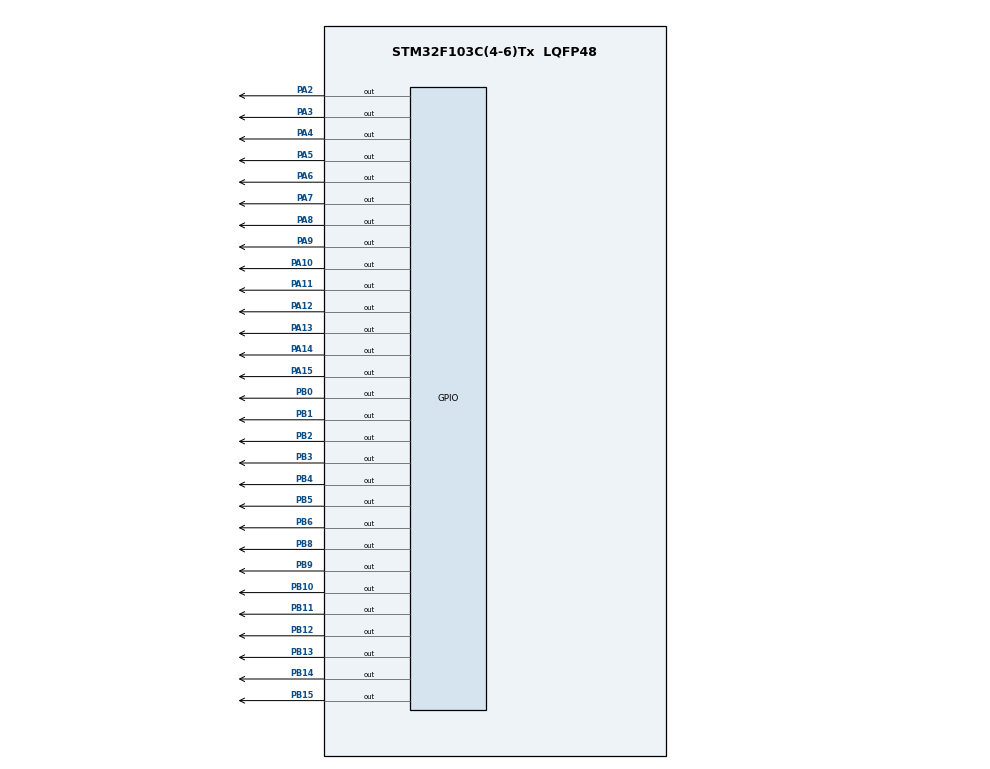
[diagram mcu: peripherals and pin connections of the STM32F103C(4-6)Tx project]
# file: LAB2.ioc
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Mcu.Family=STM32F1
Mcu.Name=STM32F103C(4-6)Tx
Mcu.Package=LQFP48
NVIC.PriorityGroup=NVIC_PRIORITYGROUP_4
NVIC.TIM2_IRQn=true\:0\:0\:false\:false\:true\:true\:true\:true
PA10.Signal=GPIO_Output
PA11.Signal=GPIO_Output
PA12.Signal=GPIO_Output
PA13.Signal=GPIO_Output
PA14.Signal=GPIO_Output
PA15.Signal=GPIO_Output
PA2.Signal=GPIO_Output
PA3.Signal=GPIO_Output
PA4.Signal=GPIO_Output
PA5.Signal=GPIO_Output
PA6.Signal=GPIO_Output
PA7.Signal=GPIO_Output
PA8.Signal=GPIO_Output
PA9.Signal=GPIO_Output
PB0.Signal=GPIO_Output
PB1.Signal=GPIO_Output
PB10.Signal=GPIO_Output
PB11.Signal=GPIO_Output
PB12.Signal=GPIO_Output
PB13.Signal=GPIO_Output
PB14.Signal=GPIO_Output
PB15.Signal=GPIO_Output
PB2.Signal=GPIO_Output
PB3.Signal=GPIO_Output
PB4.Signal=GPIO_Output
PB5.Signal=GPIO_Output
PB6.Signal=GPIO_Output
PB8.Signal=GPIO_Output
PB9.Signal=GPIO_Output
ProjectManager.HeapSize=0x200
ProjectManager.StackSize=0x400
ProjectManager.TargetToolchain=STM32CubeIDE
RCC.APB1Freq_Value=8000000
RCC.APB2Freq_Value=8000000
TIM2.Period=9
TIM2.Prescaler=799
VP_TIM2_VS_ClockSourceINT.Mode=Internal
board=custom

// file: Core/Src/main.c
/* USER CODE BEGIN Header */
/**
  ******************************************************************************
  * @file           : main.c
  * @brief          : Main program body
  ******************************************************************************
  * @attention
  *
  * Copyright (c) 2026 STMicroelectronics.
  * All rights reserved.
  *
  * This software is licensed under terms that can be found in the LICENSE file
  * in the root directory of this software component.
  * If no LICENSE file comes with this software, it is provided AS-IS.
  *
  ******************************************************************************
  */
/* USER CODE END Header */
#include "main.h"

TIM_HandleTypeDef htim2;

void SystemClock_Config(void);
static void MX_GPIO_Init(void);
static void MX_TIM2_Init(void);

/* USER CODE BEGIN 0 */
void display7SEG(int num)
{
    if (num == 0)
    {
        HAL_GPIO_WritePin(GPIOB, GPIO_PIN_0, GPIO_PIN_RESET);
        HAL_GPIO_WritePin(GPIOB, GPIO_PIN_1, GPIO_PIN_RESET);
        HAL_GPIO_WritePin(GPIOB, GPIO_PIN_2, GPIO_PIN_RESET);
        HAL_GPIO_WritePin(GPIOB, GPIO_PIN_3, GPIO_PIN_RESET);
        HAL_GPIO_WritePin(GPIOB, GPIO_PIN_4, GPIO_PIN_RESET);
        HAL_GPIO_WritePin(GPIOB, GPIO_PIN_5, GPIO_PIN_RESET);
        HAL_GPIO_WritePin(GPIOB, GPIO_PIN_6, GPIO_PIN_SET);
    }
    else if (num == 1)
    {
        HAL_GPIO_WritePin(GPIOB, GPIO_PIN_0, GPIO_PIN_SET);
        HAL_GPIO_WritePin(GPIOB, GPIO_PIN_1, GPIO_PIN_RESET);
        HAL_GPIO_WritePin(GPIOB, GPIO_PIN_2, GPIO_PIN_RESET);
        HAL_GPIO_WritePin(GPIOB, GPIO_PIN_3, GPIO_PIN_SET);
        HAL_GPIO_WritePin(GPIOB, GPIO_PIN_4, GPIO_PIN_SET);
        HAL_GPIO_WritePin(GPIOB, GPIO_PIN_5, GPIO_PIN_SET);
        HAL_GPIO_WritePin(GPIOB, GPIO_PIN_6, GPIO_PIN_SET);
    }
    else if (num == 2)
    {
        HAL_GPIO_WritePin(GPIOB, GPIO_PIN_0, GPIO_PIN_RESET);
        HAL_GPIO_WritePin(GPIOB, GPIO_PIN_1, GPIO_PIN_RESET);
        HAL_GPIO_WritePin(GPIOB, GPIO_PIN_2, GPIO_PIN_SET);
        HAL_GPIO_WritePin(GPIOB, GPIO_PIN_3, GPIO_PIN_RESET);
        HAL_GPIO_WritePin(GPIOB, GPIO_PIN_4, GPIO_PIN_RESET);
        HAL_GPIO_WritePin(GPIOB, GPIO_PIN_5, GPIO_PIN_SET);
        HAL_GPIO_WritePin(GPIOB, GPIO_PIN_6, GPIO_PIN_RESET);
    }
    else if (num == 3)
    {
        HAL_GPIO_WritePin(GPIOB, GPIO_PIN_0, GPIO_PIN_RESET);
        HAL_GPIO_WritePin(GPIOB, GPIO_PIN_1, GPIO_PIN_RESET);
        HAL_GPIO_WritePin(GPIOB, GPIO_PIN_2, GPIO_PIN_RESET);
        HAL_GPIO_WritePin(GPIOB, GPIO_PIN_3, GPIO_PIN_RESET);
        HAL_GPIO_WritePin(GPIOB, GPIO_PIN_4, GPIO_PIN_SET);
        HAL_GPIO_WritePin(GPIOB, GPIO_PIN_5, GPIO_PIN_SET);
        HAL_GPIO_WritePin(GPIOB, GPIO_PIN_6, GPIO_PIN_RESET);
    }
    else if (num == 4)
    {
        HAL_GPIO_WritePin(GPIOB, GPIO_PIN_0, GPIO_PIN_SET);
        HAL_GPIO_WritePin(GPIOB, GPIO_PIN_1, GPIO_PIN_RESET);
        HAL_GPIO_WritePin(GPIOB, GPIO_PIN_2, GPIO_PIN_RESET);
        HAL_GPIO_WritePin(GPIOB, GPIO_PIN_3, GPIO_PIN_SET);
        HAL_GPIO_WritePin(GPIOB, GPIO_PIN_4, GPIO_PIN_SET);
        HAL_GPIO_WritePin(GPIOB, GPIO_PIN_5, GPIO_PIN_RESET);
        HAL_GPIO_WritePin(GPIOB, GPIO_PIN_6, GPIO_PIN_RESET);
    }
    else if (num == 5)
    {
        HAL_GPIO_WritePin(GPIOB, GPIO_PIN_0, GPIO_PIN_RESET);
        HAL_GPIO_WritePin(GPIOB, GPIO_PIN_1, GPIO_PIN_SET);
        HAL_GPIO_WritePin(GPIOB, GPIO_PIN_2, GPIO_PIN_RESET);
        HAL_GPIO_WritePin(GPIOB, GPIO_PIN_3, GPIO_PIN_RESET);
        HAL_GPIO_WritePin(GPIOB, GPIO_PIN_4, GPIO_PIN_SET);
        HAL_GPIO_WritePin(GPIOB, GPIO_PIN_5, GPIO_PIN_RESET);
        HAL_GPIO_WritePin(GPIOB, GPIO_PIN_6, GPIO_PIN_RESET);
    }
    else if (num == 6)
    {
        HAL_GPIO_WritePin(GPIOB, GPIO_PIN_0, GPIO_PIN_RESET);
        HAL_GPIO_WritePin(GPIOB, GPIO_PIN_1, GPIO_PIN_SET);
        HAL_GPIO_WritePin(GPIOB, GPIO_PIN_2, GPIO_PIN_RESET);
        HAL_GPIO_WritePin(GPIOB, GPIO_PIN_3, GPIO_PIN_RESET);
        HAL_GPIO_WritePin(GPIOB, GPIO_PIN_4, GPIO_PIN_RESET);
        HAL_GPIO_WritePin(GPIOB, GPIO_PIN_5, GPIO_PIN_RESET);
        HAL_GPIO_WritePin(GPIOB, GPIO_PIN_6, GPIO_PIN_RESET);
    }
    else if (num == 7)
    {
        HAL_GPIO_WritePin(GPIOB, GPIO_PIN_0, GPIO_PIN_RESET);
        HAL_GPIO_WritePin(GPIOB, GPIO_PIN_1, GPIO_PIN_RESET);
        HAL_GPIO_WritePin(GPIOB, GPIO_PIN_2, GPIO_PIN_RESET);
        HAL_GPIO_WritePin(GPIOB, GPIO_PIN_3, GPIO_PIN_SET);
        HAL_GPIO_WritePin(GPIOB, GPIO_PIN_4, GPIO_PIN_SET);
        HAL_GPIO_WritePin(GPIOB, GPIO_PIN_5, GPIO_PIN_SET);
        HAL_GPIO_WritePin(GPIOB, GPIO_PIN_6, GPIO_PIN_SET);
    }
    else if (num == 8)
    {
        HAL_GPIO_WritePin(GPIOB, GPIO_PIN_0, GPIO_PIN_RESET);
        HAL_GPIO_WritePin(GPIOB, GPIO_PIN_1, GPIO_PIN_RESET);
        HAL_GPIO_WritePin(GPIOB, GPIO_PIN_2, GPIO_PIN_RESET);
        HAL_GPIO_WritePin(GPIOB, GPIO_PIN_3, GPIO_PIN_RESET);
        HAL_GPIO_WritePin(GPIOB, GPIO_PIN_4, GPIO_PIN_RESET);
        HAL_GPIO_WritePin(GPIOB, GPIO_PIN_5, GPIO_PIN_RESET);
        HAL_GPIO_WritePin(GPIOB, GPIO_PIN_6, GPIO_PIN_RESET);
    }
    else if (num == 9)
    {
        HAL_GPIO_WritePin(GPIOB, GPIO_PIN_0, GPIO_PIN_RESET);
        HAL_GPIO_WritePin(GPIOB, GPIO_PIN_1, GPIO_PIN_RESET);
        HAL_GPIO_WritePin(GPIOB, GPIO_PIN_2, GPIO_PIN_RESET);
        HAL_GPIO_WritePin(GPIOB, GPIO_PIN_3, GPIO_PIN_RESET);
        HAL_GPIO_WritePin(GPIOB, GPIO_PIN_4, GPIO_PIN_SET);
        HAL_GPIO_WritePin(GPIOB, GPIO_PIN_5, GPIO_PIN_RESET);
        HAL_GPIO_WritePin(GPIOB, GPIO_PIN_6, GPIO_PIN_RESET);
    }
}

const int MAX_LED = 4;
int index_led = 0;
int led_buffer[4] = {1, 2, 3, 4};
void update7SEG(int index)
{
    HAL_GPIO_WritePin(GPIOA, GPIO_PIN_6, GPIO_PIN_SET);
    HAL_GPIO_WritePin(GPIOA, GPIO_PIN_7, GPIO_PIN_SET);
    HAL_GPIO_WritePin(GPIOA, GPIO_PIN_8, GPIO_PIN_SET);
    HAL_GPIO_WritePin(GPIOA, GPIO_PIN_9, GPIO_PIN_SET);

    switch(index)
    {
        case 0:
            // display7SEG(led_buffer[0]);
        	display7SEG( led_buffer[0]);
            // bật 7SEG 1
        	HAL_GPIO_WritePin(GPIOA, GPIO_PIN_6, GPIO_PIN_RESET);
            break;

        case 1:
            // display7SEG(led_buffer[1]);
        	display7SEG( led_buffer[1]);
            // bật 7SEG 2
        	HAL_GPIO_WritePin(GPIOA, GPIO_PIN_7, GPIO_PIN_RESET);
            break;

        case 2:
            // display7SEG(led_buffer[2]);
        	display7SEG( led_buffer[2]);
            // bật 7SEG 3
        	HAL_GPIO_WritePin(GPIOA, GPIO_PIN_8, GPIO_PIN_RESET);
            break;

        case 3:
            // display7SEG(led_buffer[3]);
        	display7SEG( led_buffer[3]);
            // bật 7SEG 4
        	HAL_GPIO_WritePin(GPIOA, GPIO_PIN_9, GPIO_PIN_RESET);
            break;

        default:
            break;
    }
}

int hour = 23;
int minute = 8;
int second = 50;

void updateClockBuffer()
{
    led_buffer[0] = hour / 10;
    led_buffer[1] = hour % 10;
    led_buffer[2] = minute / 10;
    led_buffer[3] = minute % 10;
}

int timer0_counter = 0;
int timer0_flag = 0;
int TIMER_CYCLE = 1;

void setTimer0(int duration)
{
    timer0_counter = duration / TIMER_CYCLE;
    timer0_flag = 0;
}

void timer_run()
{
    if (timer0_counter > 0)
    {
        timer0_counter--;

        if (timer0_counter == 0)
        {
            timer0_flag = 1;
        }
    }
}

const int MAX_LED_MATRIX = 8;
int index_led_matrix = 0;

uint8_t matrix_buffer[8] =
{
    0b00011000,
    0b01111110,
    0b00011000,
    0b00011000,
    0b00011000,
    0b00011000,
    0b00011000,
    0b00000000
};

void animationOnLedUpdate()
{
		uint8_t led_matrixtemp;
		led_matrixtemp   = matrix_buffer[0];
		matrix_buffer[0] = matrix_buffer[1];
		matrix_buffer[1] = matrix_buffer[2];
		matrix_buffer[2] = matrix_buffer[3];
		matrix_buffer[3] = matrix_buffer[4];
		matrix_buffer[4] = matrix_buffer[5];
		matrix_buffer[5] = matrix_buffer[6];
		matrix_buffer[6] = matrix_buffer[7];
		matrix_buffer[7] = led_matrixtemp;
}

void updateLEDMatrix(int index)
{
	HAL_GPIO_WritePin(GPIOA, GPIO_PIN_2, GPIO_PIN_SET);
	HAL_GPIO_WritePin(GPIOA, GPIO_PIN_3, GPIO_PIN_SET);
	HAL_GPIO_WritePin(GPIOA, GPIO_PIN_10, GPIO_PIN_SET);
	HAL_GPIO_WritePin(GPIOA, GPIO_PIN_11, GPIO_PIN_SET);
	HAL_GPIO_WritePin(GPIOA, GPIO_PIN_12, GPIO_PIN_SET);
	HAL_GPIO_WritePin(GPIOA, GPIO_PIN_13, GPIO_PIN_SET);
	HAL_GPIO_WritePin(GPIOA, GPIO_PIN_14, GPIO_PIN_SET);
	HAL_GPIO_WritePin(GPIOA, GPIO_PIN_15, GPIO_PIN_SET);

	for ( int row = 0; row < 8; row++ )
	{
		if ( matrix_buffer[index] & ( 1 << row ))
		{
			HAL_GPIO_WritePin(GPIOB, GPIO_PIN_8 << row, GPIO_PIN_RESET);
		}
		else
		{
			HAL_GPIO_WritePin(GPIOB, GPIO_PIN_8 << row, GPIO_PIN_SET);
		}
	}
    switch(index)
    {
        case 0:
        	HAL_GPIO_WritePin(GPIOA, GPIO_PIN_2, GPIO_PIN_RESET);
            break;

        case 1:
        	HAL_GPIO_WritePin(GPIOA, GPIO_PIN_3, GPIO_PIN_RESET);
            break;

        case 2:
        	HAL_GPIO_WritePin(GPIOA, GPIO_PIN_10, GPIO_PIN_RESET);
            break;

        case 3:
        	HAL_GPIO_WritePin(GPIOA, GPIO_PIN_11, GPIO_PIN_RESET);
            break;

        case 4:
        	HAL_GPIO_WritePin(GPIOA, GPIO_PIN_12, GPIO_PIN_RESET);
            break;

        case 5:
        	HAL_GPIO_WritePin(GPIOA, GPIO_PIN_13, GPIO_PIN_RESET);
            break;

        case 6:
        	HAL_GPIO_WritePin(GPIOA, GPIO_PIN_14, GPIO_PIN_RESET);
            break;

        case 7:
        	HAL_GPIO_WritePin(GPIOA, GPIO_PIN_15, GPIO_PIN_RESET);
            break;

        default:
            break;
    }
}

/* USER CODE END 0 */

int main(void)
{

  /* MCU Configuration--------------------------------------------------------*/

  /* Reset of all peripherals, Initializes the Flash interface and the Systick. */
  HAL_Init();

  /* Configure the system clock */
  SystemClock_Config();

  /* Initialize all configured peripherals */
  MX_GPIO_Init();
  MX_TIM2_Init();
  /* USER CODE BEGIN 2 */
  HAL_GPIO_WritePin(GPIOA, GPIO_PIN_6, GPIO_PIN_SET);
  HAL_GPIO_WritePin(GPIOA, GPIO_PIN_7, GPIO_PIN_SET);
  HAL_GPIO_WritePin(GPIOA, GPIO_PIN_8, GPIO_PIN_SET);
  HAL_GPIO_WritePin(GPIOA, GPIO_PIN_9, GPIO_PIN_SET);
  HAL_TIM_Base_Start_IT(&htim2);
  updateClockBuffer();
  setTimer0(1);
  int animationCount = 0;
  int count_timer1 = 100;
  int count = 0;
  /* USER CODE END 2 */

  /* Infinite loop */
  while (1)
  {

    /* USER CODE BEGIN 3 */

	  if ( timer0_flag == 1)
	  {
			updateLEDMatrix(index_led_matrix);
			index_led_matrix++;
			count_timer1--;
			if ( count_timer1 <= 0 )
			{
				count_timer1 = 250;
				HAL_GPIO_TogglePin(GPIOA, GPIO_PIN_5);
				//phan cua 4 cai led 7 doan
				update7SEG(index_led);
				index_led++;
				if (index_led >= MAX_LED)
				{
					index_led = 0;
				}
				count++;
				if ( count == 1)
				{
				  second++;
				  if (second >= 60)
				  {
					  second = 0;
					  minute++;
				  }

				  if (minute >= 60)
				  {
					  minute = 0;
					  hour++;
				  }

				  if (hour >= 24)
				  {
					  hour = 0;
				  }

				  updateClockBuffer();
				  HAL_GPIO_TogglePin(GPIOA, GPIO_PIN_4);
				  count = 0;
				}
			}
			if ( index_led_matrix >= MAX_LED_MATRIX )
			{
				animationCount++;
				index_led_matrix = 0;
				if ( animationCount >= 7 )
				{
					animationOnLedUpdate();
					animationCount = 0;
				}

			}

			setTimer0(1);
	  }
 }

  /* USER CODE END 3 */
}

void SystemClock_Config(void)
{
  RCC_OscInitTypeDef RCC_OscInitStruct = {0};
  RCC_ClkInitTypeDef RCC_ClkInitStruct = {0};

  /** Initializes the RCC Oscillators according to the specified parameters
  * in the RCC_OscInitTypeDef structure.
  */
  RCC_OscInitStruct.OscillatorType = RCC_OSCILLATORTYPE_HSI;
  RCC_OscInitStruct.HSIState = RCC_HSI_ON;
  RCC_OscInitStruct.HSICalibrationValue = RCC_HSICALIBRATION_DEFAULT;
  RCC_OscInitStruct.PLL.PLLState = RCC_PLL_NONE;
  if (HAL_RCC_OscConfig(&RCC_OscInitStruct) != HAL_OK)
  {
    Error_Handler();
  }

  /** Initializes the CPU, AHB and APB buses clocks
  */
  RCC_ClkInitStruct.ClockType = RCC_CLOCKTYPE_HCLK|RCC_CLOCKTYPE_SYSCLK
                              |RCC_CLOCKTYPE_PCLK1|RCC_CLOCKTYPE_PCLK2;
  RCC_ClkInitStruct.SYSCLKSource = RCC_SYSCLKSOURCE_HSI;
  RCC_ClkInitStruct.AHBCLKDivider = RCC_SYSCLK_DIV1;
  RCC_ClkInitStruct.APB1CLKDivider = RCC_HCLK_DIV1;
  RCC_ClkInitStruct.APB2CLKDivider = RCC_HCLK_DIV1;

  if (HAL_RCC_ClockConfig(&RCC_ClkInitStruct, FLASH_LATENCY_0) != HAL_OK)
  {
    Error_Handler();
  }
}

static void MX_TIM2_Init(void)
{

  TIM_ClockConfigTypeDef sClockSourceConfig = {0};
  TIM_MasterConfigTypeDef sMasterConfig = {0};

  htim2.Instance = TIM2;
  htim2.Init.Prescaler = 799;
  htim2.Init.CounterMode = TIM_COUNTERMODE_UP;
  htim2.Init.Period = 9;
  htim2.Init.ClockDivision = TIM_CLOCKDIVISION_DIV1;
  htim2.Init.AutoReloadPreload = TIM_AUTORELOAD_PRELOAD_DISABLE;
  if (HAL_TIM_Base_Init(&htim2) != HAL_OK)
  {
    Error_Handler();
  }
  sClockSourceConfig.ClockSource = TIM_CLOCKSOURCE_INTERNAL;
  if (HAL_TIM_ConfigClockSource(&htim2, &sClockSourceConfig) != HAL_OK)
  {
    Error_Handler();
  }
  sMasterConfig.MasterOutputTrigger = TIM_TRGO_RESET;
  sMasterConfig.MasterSlaveMode = TIM_MASTERSLAVEMODE_DISABLE;
  if (HAL_TIMEx_MasterConfigSynchronization(&htim2, &sMasterConfig) != HAL_OK)
  {
    Error_Handler();
  }

}

static void MX_GPIO_Init(void)
{
  GPIO_InitTypeDef GPIO_InitStruct = {0};

  /* GPIO Ports Clock Enable */
  __HAL_RCC_GPIOA_CLK_ENABLE();
  __HAL_RCC_GPIOB_CLK_ENABLE();

  /*Configure GPIO pin Output Level */
  HAL_GPIO_WritePin(GPIOA, GPIO_PIN_2|GPIO_PIN_3|GPIO_PIN_4|GPIO_PIN_5
                          |GPIO_PIN_6|GPIO_PIN_7|GPIO_PIN_8|GPIO_PIN_9
                          |GPIO_PIN_10|GPIO_PIN_11|GPIO_PIN_12|GPIO_PIN_13
                          |GPIO_PIN_14|GPIO_PIN_15, GPIO_PIN_RESET);

  /*Configure GPIO pin Output Level */
  HAL_GPIO_WritePin(GPIOB, GPIO_PIN_0|GPIO_PIN_1|GPIO_PIN_2|GPIO_PIN_10
                          |GPIO_PIN_11|GPIO_PIN_12|GPIO_PIN_13|GPIO_PIN_14
                          |GPIO_PIN_15|GPIO_PIN_3|GPIO_PIN_4|GPIO_PIN_5
                          |GPIO_PIN_6|GPIO_PIN_8|GPIO_PIN_9, GPIO_PIN_RESET);

  /*Configure GPIO pins : PA2 PA3 PA4 PA5
                           PA6 PA7 PA8 PA9
                           PA10 PA11 PA12 PA13
                           PA14 PA15 */
  GPIO_InitStruct.Pin = GPIO_PIN_2|GPIO_PIN_3|GPIO_PIN_4|GPIO_PIN_5
                          |GPIO_PIN_6|GPIO_PIN_7|GPIO_PIN_8|GPIO_PIN_9
                          |GPIO_PIN_10|GPIO_PIN_11|GPIO_PIN_12|GPIO_PIN_13
                          |GPIO_PIN_14|GPIO_PIN_15;
  GPIO_InitStruct.Mode = GPIO_MODE_OUTPUT_PP;
  GPIO_InitStruct.Pull = GPIO_NOPULL;
  GPIO_InitStruct.Speed = GPIO_SPEED_FREQ_LOW;
  HAL_GPIO_Init(GPIOA, &GPIO_InitStruct);

  /*Configure GPIO pins : PB0 PB1 PB2 PB10
                           PB11 PB12 PB13 PB14
                           PB15 PB3 PB4 PB5
                           PB6 PB8 PB9 */
  GPIO_InitStruct.Pin = GPIO_PIN_0|GPIO_PIN_1|GPIO_PIN_2|GPIO_PIN_10
                          |GPIO_PIN_11|GPIO_PIN_12|GPIO_PIN_13|GPIO_PIN_14
                          |GPIO_PIN_15|GPIO_PIN_3|GPIO_PIN_4|GPIO_PIN_5
                          |GPIO_PIN_6|GPIO_PIN_8|GPIO_PIN_9;
  GPIO_InitStruct.Mode = GPIO_MODE_OUTPUT_PP;
  GPIO_InitStruct.Pull = GPIO_NOPULL;
  GPIO_InitStruct.Speed = GPIO_SPEED_FREQ_LOW;
  HAL_GPIO_Init(GPIOB, &GPIO_InitStruct);

}

/* USER CODE BEGIN 4 */
void HAL_TIM_PeriodElapsedCallback(TIM_HandleTypeDef *htim)
{
	timer_run();
}
/* USER CODE END 4 */

void Error_Handler(void)
{
  __disable_irq();
  while (1)
  {
  }
}
